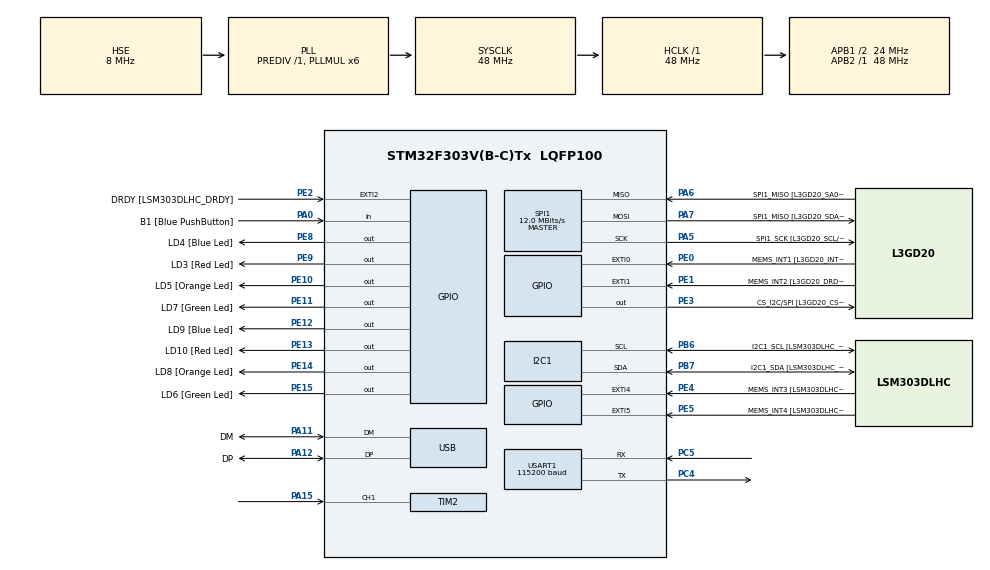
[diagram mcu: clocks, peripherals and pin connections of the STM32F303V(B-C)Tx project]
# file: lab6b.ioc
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I2C1.Timing=0x2000090E
I2C1.Timing-I2C=0x2000090E
Mcu.Family=STM32F3
Mcu.Name=STM32F303V(B-C)Tx
Mcu.Package=LQFP100
NVIC.PriorityGroup=NVIC_PRIORITYGROUP_0
NVIC.TIM2_IRQn=true\:0\:0\:false\:false\:true\:true\:true\:true
PA0.GPIO_Label=B1 [Blue PushButton]
PA0.Signal=GPIO_Input
PA11.GPIO_Label=DM
PA11.Mode=Device
PA11.Signal=USB_DM
PA12.GPIO_Label=DP
PA12.Mode=Device
PA12.Signal=USB_DP
PA13.GPIO_Label=SWDIO
PA13.Mode=Serial_Wire
PA13.Signal=SYS_JTMS-SWDIO
PA14.GPIO_Label=SWCLK
PA14.Mode=Serial_Wire
PA14.Signal=SYS_JTCK-SWCLK
PA15.Signal=S_TIM2_CH1_ETR
PA5.GPIO_Label=SPI1_SCK [L3GD20_SCL/SPC]
PA5.Mode=Full_Duplex_Master
PA5.Signal=SPI1_SCK
PA6.GPIO_Label=SPI1_MISO [L3GD20_SA0/SDO]
PA6.Mode=Full_Duplex_Master
PA6.Signal=SPI1_MISO
PA7.GPIO_Label=SPI1_MISO [L3GD20_SDA/SDI/SDO]
PA7.Mode=Full_Duplex_Master
PA7.Signal=SPI1_MOSI
PB3.GPIO_Label=SWO
PB3.Signal=SYS_JTDO-TRACESWO
PB6.GPIO_Label=I2C1_SCL [LSM303DLHC_SCL]
PB6.GPIO_Pu=GPIO_PULLUP
PB6.Mode=I2C
PB6.Signal=I2C1_SCL
PB7.GPIO_Label=I2C1_SDA [LSM303DLHC_SDA]
PB7.GPIO_Pu=GPIO_PULLUP
PB7.Mode=I2C
PB7.Signal=I2C1_SDA
PC14-OSC32_IN.GPIO_Label=OSC32_IN
PC14-OSC32_IN.Signal=RCC_OSC32_IN
PC15-OSC32_OUT.GPIO_Label=OSC32_OUT
PC15-OSC32_OUT.Signal=RCC_OSC32_OUT
PC4.Mode=Asynchronous
PC4.Signal=USART1_TX
PC5.Mode=Asynchronous
PC5.Signal=USART1_RX
PE0.GPIO_Label=MEMS_INT1 [L3GD20_INT1]
PE0.GPIO_ModeDefaultEXTI=GPIO_MODE_EVT_RISING
PE0.Signal=GPXTI0
PE1.GPIO_Label=MEMS_INT2 [L3GD20_DRDY/INT2]
PE1.GPIO_ModeDefaultEXTI=GPIO_MODE_EVT_RISING
PE1.Signal=GPXTI1
PE10.GPIO_Label=LD5 [Orange Led]
PE10.Signal=GPIO_Output
PE11.GPIO_Label=LD7 [Green Led]
PE11.Signal=GPIO_Output
PE12.GPIO_Label=LD9 [Blue Led]
PE12.Signal=GPIO_Output
PE13.GPIO_Label=LD10 [Red Led]
PE13.Signal=GPIO_Output
PE14.GPIO_Label=LD8 [Orange Led]
PE14.Signal=GPIO_Output
PE15.GPIO_Label=LD6 [Green Led]
PE15.Signal=GPIO_Output
PE2.GPIO_Label=DRDY [LSM303DLHC_DRDY]
PE2.GPIO_ModeDefaultEXTI=GPIO_MODE_EVT_RISING
PE2.Signal=GPXTI2
PE3.GPIO_Label=CS_I2C/SPI [L3GD20_CS_I2C/SPI]
PE3.Signal=GPIO_Output
PE4.GPIO_Label=MEMS_INT3 [LSM303DLHC_INT1]
PE4.GPIO_ModeDefaultEXTI=GPIO_MODE_EVT_RISING
PE4.Signal=GPXTI4
PE5.GPIO_Label=MEMS_INT4 [LSM303DLHC_INT2]
PE5.GPIO_ModeDefaultEXTI=GPIO_MODE_EVT_RISING
PE5.Signal=GPXTI5
PE8.GPIO_Label=LD4 [Blue Led]
PE8.Signal=GPIO_Output
PE9.GPIO_Label=LD3 [Red Led]
PE9.Signal=GPIO_Output
PF0-OSC_IN.GPIO_Label=OSC_IN
PF0-OSC_IN.Mode=HSE-External-Clock-Source
PF0-OSC_IN.Signal=RCC_OSC_IN
PF1-OSC_OUT.GPIO_Label=OSC_OUT
PF1-OSC_OUT.Signal=RCC_OSC_OUT
ProjectManager.HeapSize=0x200
ProjectManager.StackSize=0x400
ProjectManager.TargetToolchain=CMake
RCC.AHBFreq_Value=48000000
RCC.APB1CLKDivider=RCC_HCLK_DIV2
RCC.APB1Freq_Value=24000000
RCC.APB1TimFreq_Value=48000000
RCC.APB2Freq_Value=48000000
RCC.APB2TimFreq_Value=48000000
RCC.CortexFreq_Value=48000000
RCC.HCLKFreq_Value=48000000
RCC.HSE_VALUE=8000000
RCC.HSI_VALUE=8000000
RCC.LSE_VALUE=32768
RCC.PLLMUL=RCC_PLL_MUL6
RCC.SYSCLKFreq_VALUE=48000000
RCC.SYSCLKSourceVirtual=RCC_SYSCLKSOURCE_PLLCLK
RCC.USBFreq_Value=48000000
SH.S_TIM2_CH1_ETR.0=TIM2_CH1,Input_Capture1_from_TI1
SPI1.BaudRatePrescaler=SPI_BAUDRATEPRESCALER_4
SPI1.BaudRatePrescaler-Full_Duplex_Master=SPI_BAUDRATEPRESCALER_2
SPI1.CalculateBaudRate=12.0 MBits/s
SPI1.CalculateBaudRate-Full_Duplex_Master=24.0 MBits/s
SPI1.Direction=SPI_DIRECTION_2LINES
SPI1.Mode=SPI_MODE_MASTER
SPI1.Mode-Full_Duplex_Master=SPI_MODE_MASTER
SPI1.VirtualType=VM_MASTER
TIM2.Channel-Input_Capture1_from_TI1=TIM_CHANNEL_1
TIM2.Prescaler=71
USART1.BaudRate=115200
USART1.VirtualMode-Asynchronous=VM_ASYNC
board=STM32F3DISCOVERY

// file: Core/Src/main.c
/* USER CODE BEGIN Header */
/**
  ******************************************************************************
  * @file           : main.c
  * @brief          : Main program body
  ******************************************************************************
  * @attention
  *
  * Copyright (c) 2026 STMicroelectronics.
  * All rights reserved.
  *
  * This software is licensed under terms that can be found in the LICENSE file
  * in the root directory of this software component.
  * If no LICENSE file comes with this software, it is provided AS-IS.
  *
  ******************************************************************************
  */
/* USER CODE END Header */
#include "main.h"

/* USER CODE BEGIN Includes */
#include "stdio.h"
/* USER CODE END Includes */

I2C_HandleTypeDef hi2c1;

SPI_HandleTypeDef hspi1;

TIM_HandleTypeDef htim2;

UART_HandleTypeDef huart1;

PCD_HandleTypeDef hpcd_USB_FS;

/* USER CODE BEGIN PV */
volatile uint32_t current_capture = 0;
volatile uint32_t last_capture = 0;
volatile uint32_t diff_capture = 0;
volatile uint16_t is_first_capture = 0;
volatile uint16_t capture_flag = 0;

int __io_putchar(int ch) {
  HAL_UART_Transmit(&huart1 , (uint8_t *)&ch , 1 , HAL_MAX_DELAY);
  return ch;
}
/* USER CODE END PV */

void SystemClock_Config(void);
static void MX_GPIO_Init(void);
static void MX_I2C1_Init(void);
static void MX_SPI1_Init(void);
static void MX_TIM2_Init(void);
static void MX_USB_PCD_Init(void);
static void MX_USART1_UART_Init(void);
/* USER CODE BEGIN PFP */

void HAL_TIM_IC_CaptureCallback(TIM_HandleTypeDef *htim) {
  if (htim->Instance == TIM2 && htim->Channel == HAL_TIM_ACTIVE_CHANNEL_1) {
    if (is_first_capture == 0) {
      last_capture = HAL_TIM_ReadCapturedValue(htim , TIM_CHANNEL_1);
      is_first_capture = 1;
    } else {
      current_capture = HAL_TIM_ReadCapturedValue(htim , TIM_CHANNEL_1);
      if (current_capture >= last_capture) diff_capture = current_capture - last_capture;
      else diff_capture = (0xFFFFFFFF - last_capture) + current_capture + 1;
      last_capture = current_capture;
      capture_flag = 1;
    }
  }
}
/* USER CODE END PFP */

int main(void)
{

  /* MCU Configuration--------------------------------------------------------*/

  /* Reset of all peripherals, Initializes the Flash interface and the Systick. */
  HAL_Init();

  /* Configure the system clock */
  SystemClock_Config();

  /* Initialize all configured peripherals */
  MX_GPIO_Init();
  MX_I2C1_Init();
  MX_SPI1_Init();
  MX_TIM2_Init();
  MX_USB_PCD_Init();
  MX_USART1_UART_Init();
  /* USER CODE BEGIN 2 */
  HAL_TIM_IC_Start_IT(&htim2 , TIM_CHANNEL_1);
  /* USER CODE END 2 */

  /* Infinite loop */
  /* USER CODE BEGIN WHILE */
  while (1)
  {
    if (capture_flag) {
      if (diff_capture > 0) {
        uint32_t freq = 666667 / diff_capture;
        printf("Period: %d | Frequency: %d \r\n" , (int) diff_capture , (int) freq);
      }
      capture_flag = 0;
    }

    /* USER CODE END WHILE */

  }
}

void SystemClock_Config(void)
{
  RCC_OscInitTypeDef RCC_OscInitStruct = {0};
  RCC_ClkInitTypeDef RCC_ClkInitStruct = {0};
  RCC_PeriphCLKInitTypeDef PeriphClkInit = {0};

  /** Initializes the RCC Oscillators according to the specified parameters
  * in the RCC_OscInitTypeDef structure.
  */
  RCC_OscInitStruct.OscillatorType = RCC_OSCILLATORTYPE_HSI|RCC_OSCILLATORTYPE_HSE;
  RCC_OscInitStruct.HSEState = RCC_HSE_BYPASS;
  RCC_OscInitStruct.HSEPredivValue = RCC_HSE_PREDIV_DIV1;
  RCC_OscInitStruct.HSIState = RCC_HSI_ON;
  RCC_OscInitStruct.HSICalibrationValue = RCC_HSICALIBRATION_DEFAULT;
  RCC_OscInitStruct.PLL.PLLState = RCC_PLL_ON;
  RCC_OscInitStruct.PLL.PLLSource = RCC_PLLSOURCE_HSE;
  RCC_OscInitStruct.PLL.PLLMUL = RCC_PLL_MUL6;
  if (HAL_RCC_OscConfig(&RCC_OscInitStruct) != HAL_OK)
  {
    Error_Handler();
  }

  /** Initializes the CPU, AHB and APB buses clocks
  */
  RCC_ClkInitStruct.ClockType = RCC_CLOCKTYPE_HCLK|RCC_CLOCKTYPE_SYSCLK
                              |RCC_CLOCKTYPE_PCLK1|RCC_CLOCKTYPE_PCLK2;
  RCC_ClkInitStruct.SYSCLKSource = RCC_SYSCLKSOURCE_PLLCLK;
  RCC_ClkInitStruct.AHBCLKDivider = RCC_SYSCLK_DIV1;
  RCC_ClkInitStruct.APB1CLKDivider = RCC_HCLK_DIV2;
  RCC_ClkInitStruct.APB2CLKDivider = RCC_HCLK_DIV1;

  if (HAL_RCC_ClockConfig(&RCC_ClkInitStruct, FLASH_LATENCY_1) != HAL_OK)
  {
    Error_Handler();
  }
  PeriphClkInit.PeriphClockSelection = RCC_PERIPHCLK_USB|RCC_PERIPHCLK_USART1
                              |RCC_PERIPHCLK_I2C1;
  PeriphClkInit.Usart1ClockSelection = RCC_USART1CLKSOURCE_PCLK2;
  PeriphClkInit.I2c1ClockSelection = RCC_I2C1CLKSOURCE_HSI;
  PeriphClkInit.USBClockSelection = RCC_USBCLKSOURCE_PLL;
  if (HAL_RCCEx_PeriphCLKConfig(&PeriphClkInit) != HAL_OK)
  {
    Error_Handler();
  }
}

static void MX_I2C1_Init(void)
{

  hi2c1.Instance = I2C1;
  hi2c1.Init.Timing = 0x2000090E;
  hi2c1.Init.OwnAddress1 = 0;
  hi2c1.Init.AddressingMode = I2C_ADDRESSINGMODE_7BIT;
  hi2c1.Init.DualAddressMode = I2C_DUALADDRESS_DISABLE;
  hi2c1.Init.OwnAddress2 = 0;
  hi2c1.Init.OwnAddress2Masks = I2C_OA2_NOMASK;
  hi2c1.Init.GeneralCallMode = I2C_GENERALCALL_DISABLE;
  hi2c1.Init.NoStretchMode = I2C_NOSTRETCH_DISABLE;
  if (HAL_I2C_Init(&hi2c1) != HAL_OK)
  {
    Error_Handler();
  }

  /** Configure Analogue filter
  */
  if (HAL_I2CEx_ConfigAnalogFilter(&hi2c1, I2C_ANALOGFILTER_ENABLE) != HAL_OK)
  {
    Error_Handler();
  }

  /** Configure Digital filter
  */
  if (HAL_I2CEx_ConfigDigitalFilter(&hi2c1, 0) != HAL_OK)
  {
    Error_Handler();
  }

}

static void MX_SPI1_Init(void)
{

  /* SPI1 parameter configuration*/
  hspi1.Instance = SPI1;
  hspi1.Init.Mode = SPI_MODE_MASTER;
  hspi1.Init.Direction = SPI_DIRECTION_2LINES;
  hspi1.Init.DataSize = SPI_DATASIZE_4BIT;
  hspi1.Init.CLKPolarity = SPI_POLARITY_LOW;
  hspi1.Init.CLKPhase = SPI_PHASE_1EDGE;
  hspi1.Init.NSS = SPI_NSS_SOFT;
  hspi1.Init.BaudRatePrescaler = SPI_BAUDRATEPRESCALER_4;
  hspi1.Init.FirstBit = SPI_FIRSTBIT_MSB;
  hspi1.Init.TIMode = SPI_TIMODE_DISABLE;
  hspi1.Init.CRCCalculation = SPI_CRCCALCULATION_DISABLE;
  hspi1.Init.CRCPolynomial = 7;
  hspi1.Init.CRCLength = SPI_CRC_LENGTH_DATASIZE;
  hspi1.Init.NSSPMode = SPI_NSS_PULSE_ENABLE;
  if (HAL_SPI_Init(&hspi1) != HAL_OK)
  {
    Error_Handler();
  }

}

static void MX_TIM2_Init(void)
{

  TIM_MasterConfigTypeDef sMasterConfig = {0};
  TIM_IC_InitTypeDef sConfigIC = {0};

  htim2.Instance = TIM2;
  htim2.Init.Prescaler = 71;
  htim2.Init.CounterMode = TIM_COUNTERMODE_UP;
  htim2.Init.Period = 4294967295;
  htim2.Init.ClockDivision = TIM_CLOCKDIVISION_DIV1;
  htim2.Init.AutoReloadPreload = TIM_AUTORELOAD_PRELOAD_DISABLE;
  if (HAL_TIM_IC_Init(&htim2) != HAL_OK)
  {
    Error_Handler();
  }
  sMasterConfig.MasterOutputTrigger = TIM_TRGO_RESET;
  sMasterConfig.MasterSlaveMode = TIM_MASTERSLAVEMODE_DISABLE;
  if (HAL_TIMEx_MasterConfigSynchronization(&htim2, &sMasterConfig) != HAL_OK)
  {
    Error_Handler();
  }
  sConfigIC.ICPolarity = TIM_INPUTCHANNELPOLARITY_RISING;
  sConfigIC.ICSelection = TIM_ICSELECTION_DIRECTTI;
  sConfigIC.ICPrescaler = TIM_ICPSC_DIV1;
  sConfigIC.ICFilter = 0;
  if (HAL_TIM_IC_ConfigChannel(&htim2, &sConfigIC, TIM_CHANNEL_1) != HAL_OK)
  {
    Error_Handler();
  }

}

static void MX_USART1_UART_Init(void)
{

  huart1.Instance = USART1;
  huart1.Init.BaudRate = 115200;
  huart1.Init.WordLength = UART_WORDLENGTH_8B;
  huart1.Init.StopBits = UART_STOPBITS_1;
  huart1.Init.Parity = UART_PARITY_NONE;
  huart1.Init.Mode = UART_MODE_TX_RX;
  huart1.Init.HwFlowCtl = UART_HWCONTROL_NONE;
  huart1.Init.OverSampling = UART_OVERSAMPLING_16;
  huart1.Init.OneBitSampling = UART_ONE_BIT_SAMPLE_DISABLE;
  huart1.AdvancedInit.AdvFeatureInit = UART_ADVFEATURE_NO_INIT;
  if (HAL_UART_Init(&huart1) != HAL_OK)
  {
    Error_Handler();
  }

}

static void MX_USB_PCD_Init(void)
{

  hpcd_USB_FS.Instance = USB;
  hpcd_USB_FS.Init.dev_endpoints = 8;
  hpcd_USB_FS.Init.speed = PCD_SPEED_FULL;
  hpcd_USB_FS.Init.phy_itface = PCD_PHY_EMBEDDED;
  hpcd_USB_FS.Init.low_power_enable = DISABLE;
  hpcd_USB_FS.Init.battery_charging_enable = DISABLE;
  if (HAL_PCD_Init(&hpcd_USB_FS) != HAL_OK)
  {
    Error_Handler();
  }

}

static void MX_GPIO_Init(void)
{
  GPIO_InitTypeDef GPIO_InitStruct = {0};

  /* GPIO Ports Clock Enable */
  __HAL_RCC_GPIOE_CLK_ENABLE();
  __HAL_RCC_GPIOC_CLK_ENABLE();
  __HAL_RCC_GPIOF_CLK_ENABLE();
  __HAL_RCC_GPIOA_CLK_ENABLE();
  __HAL_RCC_GPIOB_CLK_ENABLE();

  /*Configure GPIO pin Output Level */
  HAL_GPIO_WritePin(GPIOE, CS_I2C_SPI_Pin|LD4_Pin|LD3_Pin|LD5_Pin
                          |LD7_Pin|LD9_Pin|LD10_Pin|LD8_Pin
                          |LD6_Pin, GPIO_PIN_RESET);

  /*Configure GPIO pins : DRDY_Pin MEMS_INT3_Pin MEMS_INT4_Pin MEMS_INT1_Pin
                           MEMS_INT2_Pin */
  GPIO_InitStruct.Pin = DRDY_Pin|MEMS_INT3_Pin|MEMS_INT4_Pin|MEMS_INT1_Pin
                          |MEMS_INT2_Pin;
  GPIO_InitStruct.Mode = GPIO_MODE_EVT_RISING;
  GPIO_InitStruct.Pull = GPIO_NOPULL;
  HAL_GPIO_Init(GPIOE, &GPIO_InitStruct);

  /*Configure GPIO pins : CS_I2C_SPI_Pin LD4_Pin LD3_Pin LD5_Pin
                           LD7_Pin LD9_Pin LD10_Pin LD8_Pin
                           LD6_Pin */
  GPIO_InitStruct.Pin = CS_I2C_SPI_Pin|LD4_Pin|LD3_Pin|LD5_Pin
                          |LD7_Pin|LD9_Pin|LD10_Pin|LD8_Pin
                          |LD6_Pin;
  GPIO_InitStruct.Mode = GPIO_MODE_OUTPUT_PP;
  GPIO_InitStruct.Pull = GPIO_NOPULL;
  GPIO_InitStruct.Speed = GPIO_SPEED_FREQ_LOW;
  HAL_GPIO_Init(GPIOE, &GPIO_InitStruct);

  /*Configure GPIO pin : B1_Pin */
  GPIO_InitStruct.Pin = B1_Pin;
  GPIO_InitStruct.Mode = GPIO_MODE_INPUT;
  GPIO_InitStruct.Pull = GPIO_NOPULL;
  HAL_GPIO_Init(B1_GPIO_Port, &GPIO_InitStruct);

}

void Error_Handler(void)
{
  __disable_irq();
  while (1)
  {
  }
}
